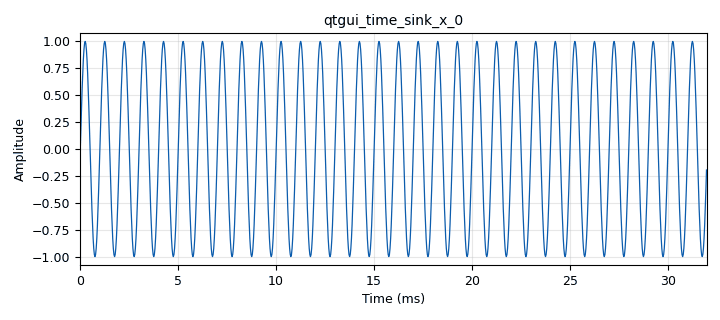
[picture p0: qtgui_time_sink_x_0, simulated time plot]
options:
  parameters:
    generate_options: qt_gui
    id: sine_wave_generator
    output_language: python
    title: top_block
  states: {}

blocks:
- name: my_variable
  id: variable
  parameters:
    value: 5 + 6
  states: {}
- name: samp_rate
  id: variable
  parameters:
    value: '32000'
  states: {}
- name: variable_qtgui_dial_control_0
  id: variable_qtgui_dial_control
  parameters:
    label: Frequency
    maximum: '5000'
    minimum: '0'
    minsize: '50'
    showvalue: 'True'
    type: int
    value: '1000'
  states: {}
- name: analog_sig_source_x_0
  id: analog_sig_source_x
  parameters:
    amp: '1'
    freq: variable_qtgui_dial_control_0
    offset: '0'
    phase: '0'
    samp_rate: samp_rate
    type: float
    waveform: analog.GR_COS_WAVE
  states: {}
- name: audio_sink_0
  id: audio_sink
  parameters:
    device_name: Speakers (Conexant ISST Audio)
    samp_rate: samp_rate
  states: {}
- name: blocks_file_sink_0
  id: blocks_file_sink
  parameters:
    file: C:\Users\reedyje\Desktop\1kSig.bin
    type: float
  states: {}
- name: blocks_throttle2_0
  id: blocks_throttle2
  parameters:
    samples_per_second: samp_rate
    type: float
  states: {}
- name: qtgui_time_sink_x_0
  id: qtgui_time_sink_x
  parameters:
    size: '1024'
    srate: samp_rate
    tr_mode: qtgui.TRIG_MODE_AUTO
    type: float
  states: {}

connections:
- [analog_sig_source_x_0, '0', blocks_throttle2_0, '0']
- [blocks_throttle2_0, '0', audio_sink_0, '0']
- [blocks_throttle2_0, '0', blocks_file_sink_0, '0']
- [blocks_throttle2_0, '0', qtgui_time_sink_x_0, '0']

metadata:
  file_format: 1
  grc_version: 3.10.9.2
